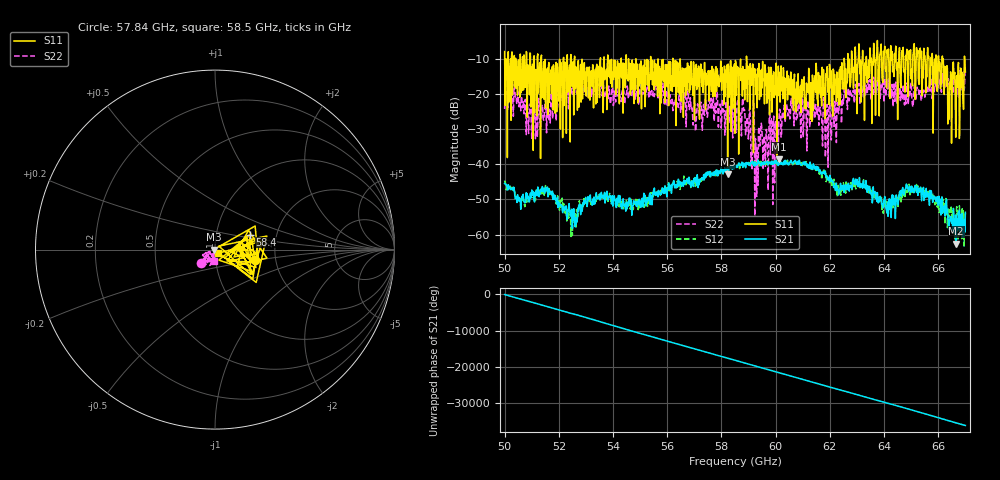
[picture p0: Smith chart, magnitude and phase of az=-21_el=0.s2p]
!Created with skrf (http://scikit-rf.org).
# GHz S RI R 50.0
!freq ReS11 ImS11 ReS21 ImS21 ReS12 ImS12 ReS22 ImS22
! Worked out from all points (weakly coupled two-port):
!   1001 points, 50 GHz to 67 GHz, reference 50 ohm
!   highest |S21| = -38.58 dB at 60.13 GHz (marker M1); lowest = -62.6 dB at 66.66 GHz (marker M2)
!   lowest |S11| = -42.9 dB at 58.23 GHz (marker M3), VSWR 1.01, Z = 49.3 + j0.0188 ohm
!   |S11| at or under -10 dB: 52.59 GHz to 53.53 GHz (946.9 MHz wide, 1.78 % of centre); 56.21 GHz to 58.92 GHz (2.718 GHz wide, 4.72 % of centre); 58.93 GHz to 62.53 GHz (3.599 GHz wide, 5.93 % of centre) (the widest 3 of 62)
!   |S22| runs from -54.7 to -13.4 dB; largest |S21 - S12| = 0.0021
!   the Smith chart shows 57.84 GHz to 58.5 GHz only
!   S11 on the Smith chart (normalised r, x): 57.84 GHz: 1.56, -0.19; 58.4 GHz: 1.45, +0.26; 58.5 GHz: 1.04, -0.04
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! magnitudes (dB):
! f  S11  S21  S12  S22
! 50 GHz  -7.9  -45.5  -44.6  -24.3
! 50.15 GHz  -22.3  -46.3  -47.0  -20.6
! 51.14 GHz  -13.6  -49.0  -50.3  -32.7
! 52.52 GHz  -14.0  -53.8  -57.3  -20.0
! 52.84 GHz  -11.4  -53.0  -53.4  -19.9
! 55.68 GHz  -13.4  -47.5  -47.7  -20.9
! 57.84 GHz  -12.8  -43.3  -42.6  -19.4
! 58.23 GHz  -42.9  -41.2  -41.7  -23.1
! 58.4 GHz  -13.5  -40.9  -40.6  -26.1
! 58.5 GHz  -31.2  -40.3  -40.4  -23.5
! 59.11 GHz  -12.7  -39.6  -39.6  -36.6
! 59.32 GHz  -23.9  -39.8  -39.5  -35.0
! 59.45 GHz  -20.7  -40.1  -39.2  -29.7
! 60.13 GHz  -20.5  -38.6  -39.3  -25.7
! 61.34 GHz  -27.8  -40.7  -41.5  -26.9
! 61.88 GHz  -15.1  -43.7  -44.0  -24.0
! 62.61 GHz  -16.6  -47.0  -46.6  -19.6
! 64.18 GHz  -11.8  -49.9  -52.8  -17.5
! 65.22 GHz  -9.3  -46.9  -46.7  -18.1
! 66.44 GHz  -18.6  -55.0  -52.8  -16.2
! 66.66 GHz  -22.3  -62.6  -56.3  -16.8
! 67 GHz  -13.8  -53.7  -53.8  -14.2
